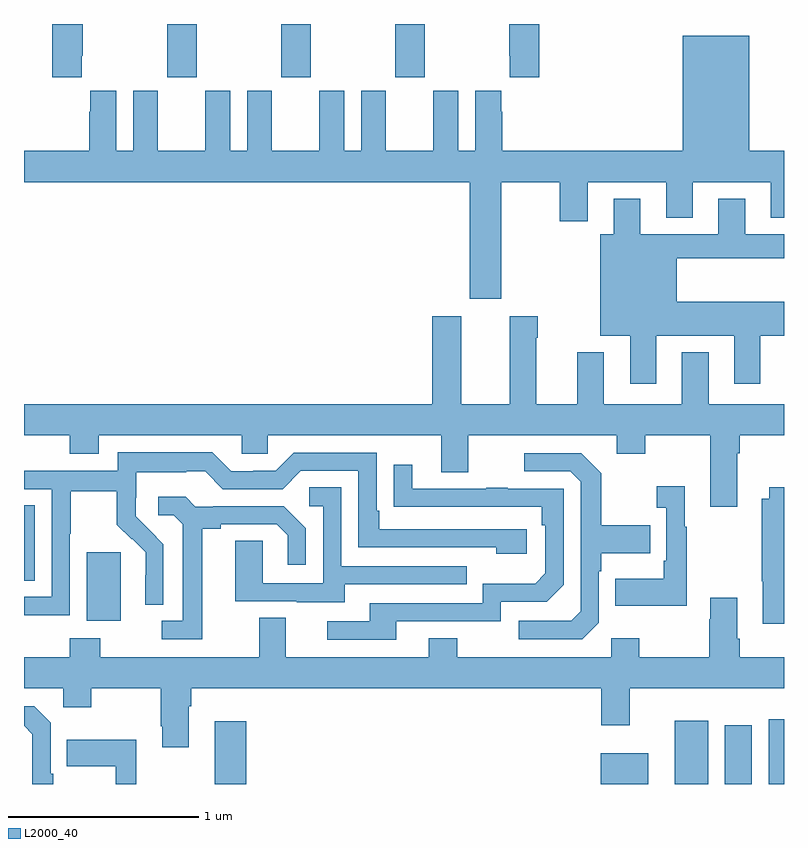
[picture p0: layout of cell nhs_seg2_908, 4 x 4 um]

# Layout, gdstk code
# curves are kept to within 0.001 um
import gdstk
lib = gdstk.Library(unit=1e-6, precision=1e-09)
def R(c, l, rs):  # rectangles x0, y0, x1, y1
    for r in rs: c.add(gdstk.rectangle(r[:2], r[2:], *l))
def A(c, l, x, y, w, h, nx, ny, dx, dy):  # array of equal rectangles
    R(c, l, [(x+i*dx, y+j*dy, x+i*dx+w, y+j*dy+h) for i in range(nx) for j in range(ny)])
def P(c, l, *ps):  # polygons
    for p in ps: c.add(gdstk.Polygon(p, *l))
L2000_40 = (2000, 40)

nhs_seg2_908 = lib.new_cell('nhs_seg2_908')
A(nhs_seg2_908, L2000_40, 157.753, 649.521, 0.155, 0.279, 3, 1, 0.6, 0)
R(nhs_seg2_908, L2000_40, [(158.003,645.8,158.171,646.129), (160.035,645.8,160.285,645.961), (160.424,645.8,160.6,646.132), (160.688,645.8,160.831,646.108), (160.919,645.8,161,646.141), (157.331,646.658,157.51,647.019), (157,646.87,157.057,647.267)])
P(nhs_seg2_908, L2000_40, [(157.303,649.633),(157.308,649.633),(157.308,649.8),(157.148,649.8),(157.148,649.521),(157.303,649.521)],
  [(159.713,649.8),(159.553,649.8),(159.553,649.633),(159.557,649.633),(159.557,649.521),(159.713,649.521)],
  [(159.518,649.337),(159.511,649.337),(159.511,649.45),(159.374,649.45),(159.374,649.132),(159.286,649.132),(159.286,649.45),(159.155,649.45),(159.155,649.132),(158.905,649.132),(158.905,649.45),(158.774,649.45),(158.774,649.132),(158.686,649.132),(158.686,649.45),(158.555,649.45),(158.555,649.132),(158.305,649.132),(158.305,649.45),(158.174,649.45),(158.174,649.132),(158.086,649.132),(158.086,649.45),(157.955,649.45),(157.955,649.132),(157.705,649.132),(157.705,649.45),(157.574,649.45),(157.574,649.132),(157.486,649.132),(157.486,649.45),(157.349,649.45),(157.349,649.337),(157.343,649.337),(157.343,649.132),(157,649.132),(157,648.968),(159.347,648.968),(159.347,648.354),(159.511,648.354),(159.511,648.968),(159.82,648.968),(159.82,648.762),(159.967,648.762),(159.967,648.968),(160.379,648.968),(160.379,648.779),(160.519,648.779),(160.519,648.968),(160.931,648.968),(160.931,648.779),(161,648.779),(161,649.132),(160.816,649.132),(160.816,649.738),(160.466,649.738),(160.466,649.132),(159.518,649.132)],
  [(160.327,648.158),(160.739,648.158),(160.739,647.907),(160.876,647.907),(160.876,648.158),(161,648.158),(161,648.337),(160.435,648.337),(160.435,648.566),(161,648.566),(161,648.694),(160.795,648.694),(160.795,648.88),(160.655,648.88),(160.655,648.694),(160.243,648.694),(160.243,648.88),(160.103,648.88),(160.103,648.694),(160.034,648.694),(160.034,648.158),(160.19,648.158),(160.19,647.907),(160.327,647.907)],
  [(157,647.636),(157.241,647.636),(157.241,647.537),(157.393,647.537),(157.393,647.636),(158.145,647.636),(158.145,647.538),(158.283,647.538),(158.283,647.636),(159.197,647.636),(159.197,647.442),(159.337,647.442),(159.337,647.636),(160.121,647.636),(160.121,647.537),(160.269,647.537),(160.269,647.636),(160.613,647.636),(160.613,647.259),(160.753,647.259),(160.753,647.54),(160.766,647.54),(160.766,647.636),(161,647.636),(161,647.8),(160.603,647.8),(160.603,648.073),(160.463,648.073),(160.463,647.8),(160.051,647.8),(160.051,648.073),(159.911,648.073),(159.911,647.8),(159.697,647.8),(159.697,648.149),(159.705,648.149),(159.705,648.262),(159.557,648.262),(159.557,647.8),(159.301,647.8),(159.301,648.262),(159.149,648.262),(159.149,647.8),(157,647.8)],
  [(157.242,647.116),(157.245,647.116),(157.245,647.34),(157.489,647.34),(157.489,647.165),(157.566,647.088),(157.569,647.091),(157.64,647.021),(157.64,646.898),(157.638,646.898),(157.638,646.744),(157.734,646.744),(157.734,647.062),(157.588,647.21),(157.588,647.307),(157.59,647.307),(157.59,647.441),(157.853,647.441),(157.853,647.445),(157.953,647.445),(158.046,647.352),(158.361,647.352),(158.457,647.448),(158.76,647.448),(158.76,647.046),(159.485,647.046),(159.485,647.012),(159.646,647.012),(159.646,647.142),(158.869,647.142),(158.869,647.239),(158.856,647.239),(158.856,647.544),(158.421,647.544),(158.325,647.448),(158.207,647.448),(158.207,647.445),(158.091,647.445),(157.991,647.545),(157.494,647.545),(157.494,647.448),(157,647.448),(157,647.352),(157.146,647.352),(157.146,646.785),(157,646.785),(157,646.687),(157.242,646.687)],
  [(160.026,646.65),(160.026,646.919),(160.039,646.919),(160.039,647.015),(160.295,647.015),(160.295,647.163),(160.039,647.163),(160.039,647.435),(159.933,647.541),(159.633,647.541),(159.633,647.445),(159.876,647.445),(159.93,647.391),(159.93,646.71),(159.879,646.659),(159.603,646.659),(159.603,646.563),(159.939,646.563)],
  [(158.959,646.656),(159.51,646.656),(159.51,646.758),(159.75,646.758),(159.84,646.848),(159.84,647.355),(159.545,647.355),(159.545,647.36),(159.433,647.36),(159.433,647.355),(159.043,647.355),(159.043,647.479),(158.947,647.479),(158.947,647.26),(159.724,647.259),(159.724,647.162),(159.744,647.162),(159.744,646.908),(159.691,646.855),(159.414,646.855),(159.414,646.752),(158.819,646.752),(158.819,646.656),(158.595,646.656),(158.595,646.56),(158.959,646.56)],
  [(160.489,647.155),(160.477,647.155),(160.477,647.368),(160.329,647.368),(160.329,647.255),(160.38,647.255),(160.38,646.975),(160.368,646.975),(160.368,646.879),(160.111,646.879),(160.111,646.739),(160.489,646.739)],
  [(158.689,646.851),(159.329,646.851),(159.329,646.947),(158.67,646.947),(158.67,647.363),(158.502,647.363),(158.502,647.262),(158.574,647.262),(158.574,646.857),(158.256,646.857),(158.256,647.081),(158.111,647.081),(158.111,646.761),(158.435,646.761),(158.435,646.757),(158.689,646.757)],
  [(161,647.362),(160.922,647.362),(160.922,647.302),(160.882,647.302),(160.882,646.867),(160.889,646.867),(160.889,646.644),(161,646.644)],
  [(157.939,647.144),(158.035,647.144),(158.035,647.166),(158.33,647.166),(158.387,647.109),(158.387,646.953),(158.484,646.953),(158.484,647.146),(158.368,647.262),(157.996,647.262),(157.996,647.259),(157.902,647.259),(157.85,647.311),(157.707,647.311),(157.707,647.214),(157.788,647.214),(157.835,647.167),(157.835,646.659),(157.725,646.659),(157.725,646.563),(157.939,646.563)],
  [(157.867,646.208),(157.88,646.208),(157.88,646.304),(160.037,646.304),(160.037,646.11),(160.189,646.11),(160.189,646.304),(161,646.304),(161,646.468),(160.766,646.468),(160.766,646.564),(160.753,646.564),(160.753,646.78),(160.613,646.78),(160.613,646.667),(160.606,646.667),(160.606,646.468),(160.239,646.468),(160.239,646.567),(160.092,646.567),(160.092,646.468),(159.279,646.468),(159.279,646.567),(159.131,646.567),(159.131,646.468),(158.377,646.468),(158.377,646.676),(158.237,646.676),(158.237,646.468),(157.401,646.468),(157.401,646.567),(157.241,646.567),(157.241,646.468),(157,646.468),(157,646.304),(157.206,646.304),(157.206,646.205),(157.353,646.205),(157.353,646.304),(157.72,646.304),(157.72,646.105),(157.727,646.105),(157.727,645.993),(157.867,645.993)],
  [(157.153,645.853),(157.14,645.853),(157.14,646.122),(157.053,646.209),(157,646.209),(157,646.106),(157.044,646.062),(157.044,645.8),(157.153,645.8)],
  [(157.592,646.033),(157.225,646.033),(157.225,645.893),(157.482,645.893),(157.482,645.8),(157.592,645.8)])

lib.write_gds('nhs_seg2_908.gds')
